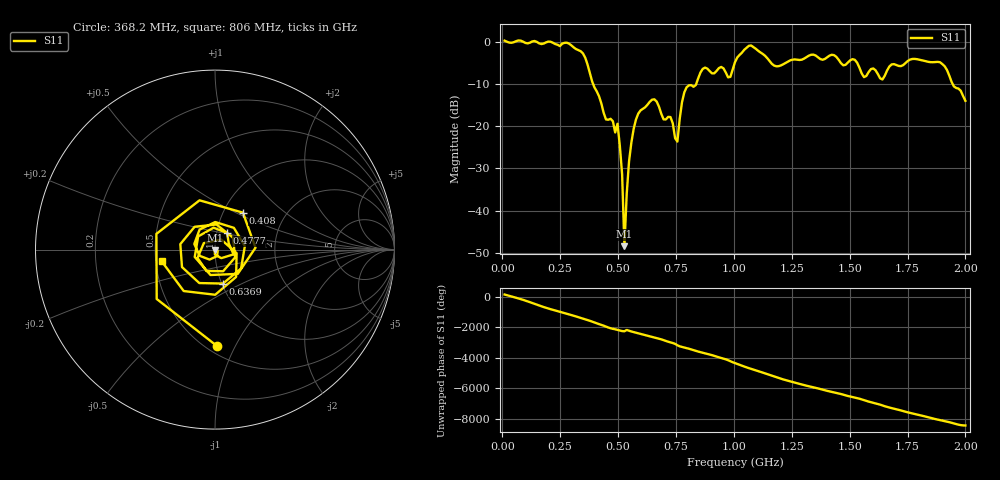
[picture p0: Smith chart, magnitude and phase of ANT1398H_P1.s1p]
!Created with skrf (http://scikit-rf.org).
# Hz S RI R 50.0
!freq ReS11 ImS11
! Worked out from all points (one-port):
!   201 points, 10 MHz to 2 GHz, reference 50 ohm
!   lowest |S11| = -48.4 dB at 527.4 MHz (marker M1), VSWR 1.01, Z = 49.9 - j0.365 ohm
!   |S11| at or under -10 dB: 392.2 MHz to 837.5 MHz (445.3 MHz wide, 72.4 % of centre); 1.945 GHz to end of sweep
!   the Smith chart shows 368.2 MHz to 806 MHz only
!   S11 on the Smith chart (normalised r, x): 368.2 MHz: 0.56, -0.85; 408 MHz: 1.24, +0.55; 477.6 MHz: 1.12, +0.21; 636.9 MHz: 1.01, -0.40; 806 MHz: 0.54, -0.08
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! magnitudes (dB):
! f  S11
! 10 MHz  0.3
! 258.8 MHz  -0.5
! 368.2 MHz  -5.4
! 408 MHz  -11.8
! 447.8 MHz  -18.4
! 477.6 MHz  -18.8
! 497.6 MHz  -19.4
! 507.5 MHz  -24.6
! 517.5 MHz  -31.4
! 527.4 MHz  -48.4
! 547.3 MHz  -28.4
! 567.2 MHz  -20.7
! 636.9 MHz  -14.2
! 726.4 MHz  -17.8
! 756.2 MHz  -23.6
! 776.1 MHz  -14.3
! 806 MHz  -10.3
! 875.6 MHz  -6.1
! 985.1 MHz  -8.3
! 1.005 GHz  -4.8
! 1.075 GHz  -0.9
! 1.174 GHz  -5.7
! 1.254 GHz  -4.2
! 1.502 GHz  -4.4
! 1.642 GHz  -8.9
! 1.751 GHz  -4.6
! 1.891 GHz  -4.8
! 2 GHz  -14.0
